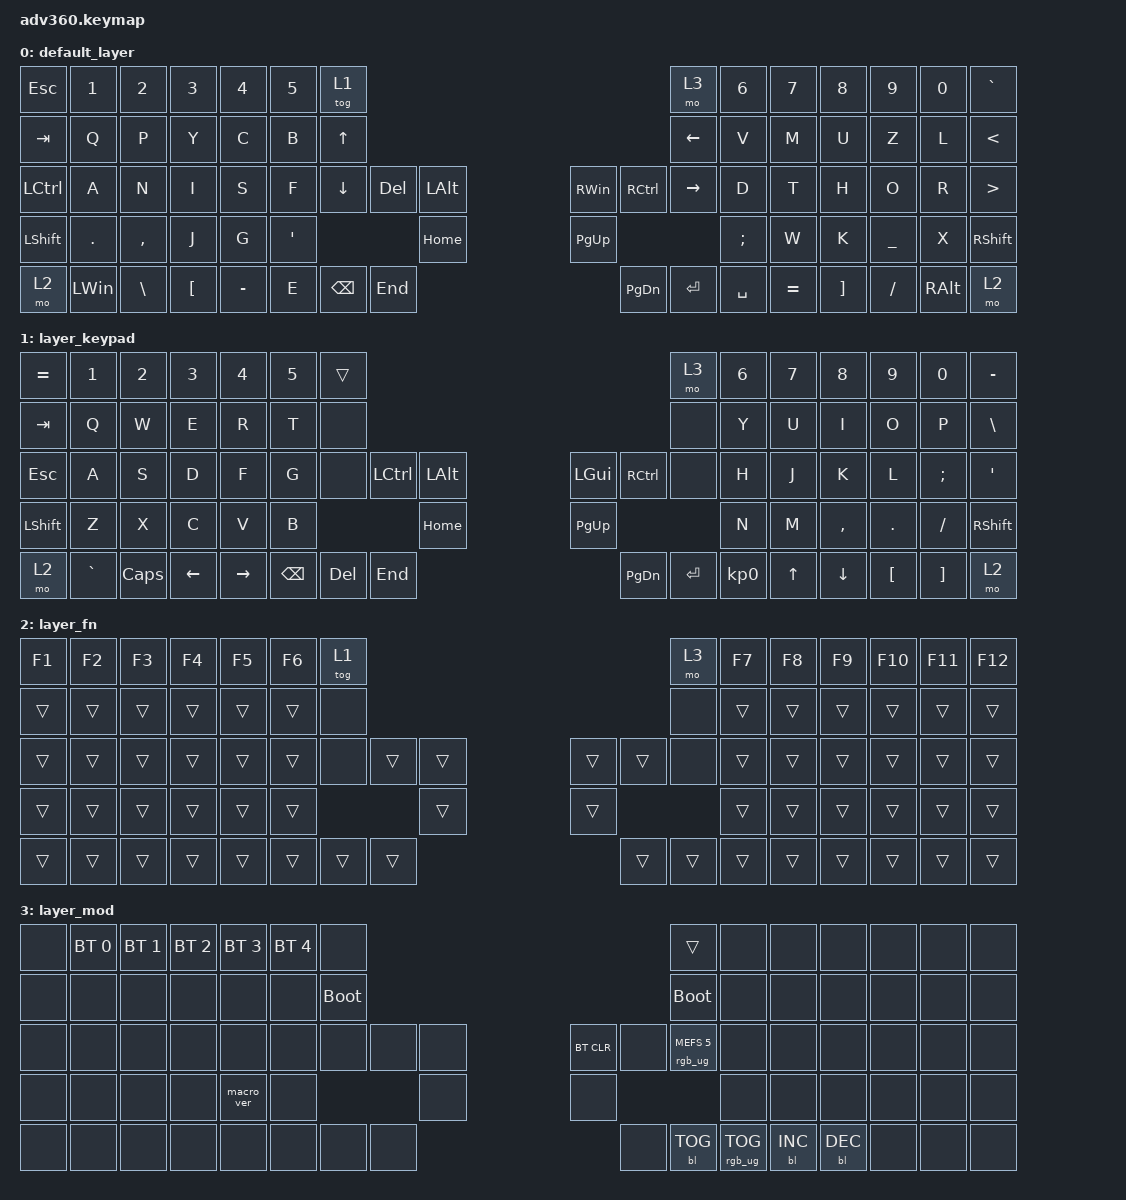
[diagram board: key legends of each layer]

/*
 * Copyright (c) 2020 The ZMK Contributors
 *
 * SPDX-License-Identifier: MIT
 */


/* THIS FILE WAS GENERATED!
 *
 * This file was generated automatically. You may or may not want to
 * edit it directly.
 */

#include <behaviors.dtsi>
#include <dt-bindings/zmk/keys.h>
#include <dt-bindings/zmk/bt.h>
#include <dt-bindings/zmk/rgb.h>
#include <dt-bindings/zmk/backlight.h>

/ {
  behaviors {
    #include "macros.dtsi"
    #include "version.dtsi"

    hm: homerow_mods {
        compatible = "zmk,behavior-hold-tap";
        label = "HOMEROW_MODS";
        #binding-cells = <2>;
        tapping-term-ms = <200>;
        quick_tap_ms = <175>;
        flavor = "tap-preferred";
        bindings = <&kp>, <&kp>;
    };
  };

    keymap {
        compatible = "zmk,keymap";


        default_layer {
            bindings = <
       &kp ESCAPE  &kp NUMBER_1   &kp NUMBER_2      &kp NUMBER_3  &kp NUMBER_4      &kp NUMBER_5                    &tog 1                                                                                           &mo 3   &kp NUMBER_6  &kp NUMBER_7       &kp NUMBER_8    &kp NUMBER_9   &kp NUMBER_0         &kp GRAVE
          &kp TAB         &kp Q          &kp P             &kp Y         &kp C             &kp B              &kp UP_ARROW                                                                                  &kp LEFT_ARROW          &kp V         &kp M              &kp U           &kp Z          &kp L     &kp LESS_THAN
 &kp LEFT_CONTROL         &kp A          &kp N             &kp I         &kp S             &kp F            &kp DOWN_ARROW     &kp DELETE  &kp LEFT_ALT                  &kp RIGHT_WIN  &kp RIGHT_CONTROL  &kp RIGHT_ARROW          &kp D         &kp T              &kp H           &kp O          &kp R  &kp GREATER_THAN
        &kp LSHFT    &kp PERIOD      &kp COMMA             &kp J         &kp G  &kp SINGLE_QUOTE                                               &kp HOME                      &kp PG_UP                                      &kp SEMICOLON         &kp W              &kp K  &kp UNDERSCORE          &kp X         &kp RSHFT
            &mo 2  &kp LEFT_WIN  &kp BACKSLASH  &kp LEFT_BRACKET     &kp MINUS                                       &kp E  &kp BACKSPACE       &kp END                      &kp PG_DN          &kp ENTER        &kp SPACE                    &kp EQUAL  &kp RIGHT_BRACKET       &kp SLASH  &kp RIGHT_ALT             &mo 2
            >;
        };

        layer_keypad {
            bindings = <
 &kp EQUAL     &kp N1    &kp N2    &kp N3     &kp N4  &kp N5              &trans                                                                 &mo 3  &kp N6  &kp NUMBER_7  &kp NUMBER_8      &kp NUMBER_9   &kp NUMBER_0  &kp MINUS
   &kp TAB      &kp Q     &kp W     &kp E      &kp R   &kp T               &none                                                                 &none   &kp Y         &kp U         &kp I             &kp O          &kp P   &kp BSLH
   &kp ESC      &kp A     &kp S     &kp D      &kp F   &kp G               &none  &kp LCTRL  &kp LALT                   &kp LGUI  &kp RCTRL      &none   &kp H         &kp J         &kp K             &kp L  &kp SEMICOLON    &kp SQT
 &kp LSHFT      &kp Z     &kp X     &kp C      &kp V   &kp B                                 &kp HOME                  &kp PG_UP                         &kp N         &kp M     &kp COMMA        &kp PERIOD      &kp SLASH  &kp RSHFT
     &mo 2  &kp GRAVE  &kp CAPS  &kp LEFT  &kp RIGHT                    &kp BSPC    &kp DEL   &kp END                  &kp PG_DN  &kp ENTER  &kp KP_N0                &kp UP      &kp DOWN  &kp LEFT_BRACKET       &kp RBKT      &mo 2
            >;
        };

        layer_fn {
            bindings = <
 &kp F1  &kp F2  &kp F3  &kp F4  &kp F5  &kp F6            &tog 1                                                   &mo 3  &kp F7  &kp F8  &kp F9  &kp F10  &kp F11  &kp F12
 &trans  &trans  &trans  &trans  &trans  &trans             &none                                                   &none  &trans  &trans  &trans   &trans   &trans   &trans
 &trans  &trans  &trans  &trans  &trans  &trans             &none  &trans  &trans                  &trans  &trans   &none  &trans  &trans  &trans   &trans   &trans   &trans
 &trans  &trans  &trans  &trans  &trans  &trans                            &trans                  &trans                  &trans  &trans  &trans   &trans   &trans   &trans
 &trans  &trans  &trans  &trans  &trans                    &trans  &trans  &trans                  &trans  &trans  &trans          &trans  &trans   &trans   &trans   &trans
            >;
        };

        layer_mod {
            bindings = <
  &none  &bt BT_SEL 0  &bt BT_SEL 1  &bt BT_SEL 2  &bt BT_SEL 3  &bt BT_SEL 4                  &none                                                                          &trans   &none       &none       &none   &none   &none   &none
  &none         &none         &none         &none         &none         &none            &bootloader                                                                     &bootloader   &none       &none       &none   &none   &none   &none
  &none         &none         &none         &none         &none         &none                  &none   &none   &none                  &bt BT_CLR       &none  &rgb_ug RGB_MEFS_CMD 5   &none       &none       &none   &none   &none   &none
  &none         &none         &none         &none    &macro_ver         &none                                  &none                       &none                                       &none       &none       &none   &none   &none   &none
  &none         &none         &none         &none         &none                                &none   &none   &none                       &none  &bl BL_TOG         &rgb_ug RGB_TOG          &bl BL_INC  &bl BL_DEC   &none   &none   &none
            >;
        };

    };
};
